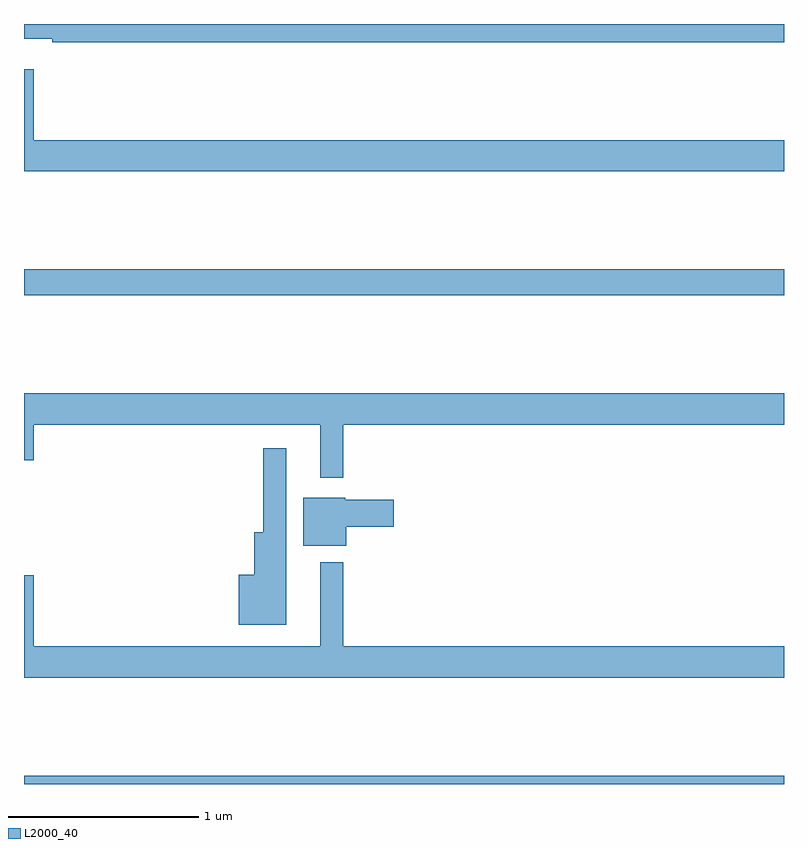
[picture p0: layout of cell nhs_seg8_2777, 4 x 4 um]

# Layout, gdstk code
import gdstk
lib = gdstk.Library(unit=1e-6, precision=1e-09)
def R(c, l, rs):  # rectangles x0, y0, x1, y1
    for r in rs: c.add(gdstk.rectangle(r[:2], r[2:], *l))
def P(c, l, *ps):  # polygons
    for p in ps: c.add(gdstk.Polygon(p, *l))
L2000_40 = (2000, 40)

nhs_seg8_2777 = lib.new_cell('nhs_seg8_2777')
R(nhs_seg8_2777, L2000_40, [(285,1155.9,289,1155.944), (285,1158.472,289,1158.608)])
P(nhs_seg8_2777, L2000_40, [(289,1159.9),(285,1159.9),(285,1159.823),(285.148,1159.823),(285.148,1159.804),(289,1159.804)],
  [(289,1159.288),(285.052,1159.288),(285.052,1159.663),(285,1159.663),(285,1159.124),(289,1159.124)],
  [(286.681,1157.792),(289,1157.792),(289,1157.956),(285,1157.956),(285,1157.604),(285.052,1157.604),(285.052,1157.792),(286.559,1157.792),(286.559,1157.511),(286.681,1157.511)],
  [(286.381,1157.668),(286.26,1157.668),(286.26,1157.224),(286.211,1157.224),(286.211,1157.002),(286.13,1157.002),(286.13,1156.739),(286.381,1156.739)],
  [(286.696,1157.255),(286.945,1157.255),(286.945,1157.397),(286.692,1157.397),(286.692,1157.407),(286.469,1157.407),(286.469,1157.153),(286.696,1157.153)],
  [(289,1156.624),(286.681,1156.624),(286.681,1157.068),(286.559,1157.068),(286.559,1156.624),(285.052,1156.624),(285.052,1156.999),(285,1156.999),(285,1156.46),(289,1156.46)])

lib.write_gds('nhs_seg8_2777.gds')
